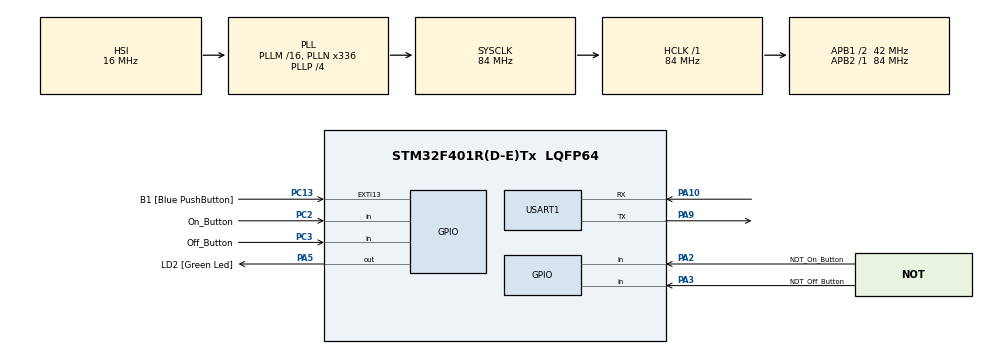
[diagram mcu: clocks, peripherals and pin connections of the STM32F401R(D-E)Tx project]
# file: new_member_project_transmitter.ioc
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Mcu.Family=STM32F4
Mcu.Name=STM32F401R(D-E)Tx
Mcu.Package=LQFP64
NVIC.PriorityGroup=NVIC_PRIORITYGROUP_0
PA10.Mode=Asynchronous
PA10.Signal=USART1_RX
PA13.GPIO_Label=TMS
PA13.Mode=Serial_Wire
PA13.Signal=SYS_JTMS-SWDIO
PA14.GPIO_Label=TCK
PA14.Mode=Serial_Wire
PA14.Signal=SYS_JTCK-SWCLK
PA2.GPIO_Label=NOT_On_Button
PA2.GPIO_PuPd=GPIO_PULLUP
PA2.Signal=GPIO_Input
PA3.GPIO_Label=NOT_Off_Button
PA3.GPIO_PuPd=GPIO_PULLUP
PA3.Signal=GPIO_Input
PA5.GPIO_Label=LD2 [Green Led]
PA5.GPIO_Mode=GPIO_MODE_OUTPUT_PP
PA5.GPIO_PuPd=GPIO_NOPULL
PA5.GPIO_Speed=GPIO_SPEED_FREQ_LOW
PA5.Signal=GPIO_Output
PA9.Mode=Asynchronous
PA9.Signal=USART1_TX
PB3.GPIO_Label=SWO
PB3.Signal=SYS_JTDO-SWO
PC13-ANTI_TAMP.GPIO_Label=B1 [Blue PushButton]
PC13-ANTI_TAMP.GPIO_ModeDefaultEXTI=GPIO_MODE_IT_FALLING
PC13-ANTI_TAMP.GPIO_PuPd=GPIO_NOPULL
PC13-ANTI_TAMP.Signal=GPXTI13
PC14-OSC32_IN.Mode=LSE-External-Oscillator
PC14-OSC32_IN.Signal=RCC_OSC32_IN
PC15-OSC32_OUT.Mode=LSE-External-Oscillator
PC15-OSC32_OUT.Signal=RCC_OSC32_OUT
PC2.GPIO_Label=On_Button
PC2.Signal=GPIO_Input
PC3.GPIO_Label=Off_Button
PC3.Signal=GPIO_Input
PH0\ -\ OSC_IN.Mode=HSE-External-Clock-Source
PH0\ -\ OSC_IN.Signal=RCC_OSC_IN
PH1\ -\ OSC_OUT.Mode=HSE-External-Clock-Source
PH1\ -\ OSC_OUT.Signal=RCC_OSC_OUT
ProjectManager.HeapSize=0x200
ProjectManager.StackSize=0x400
ProjectManager.TargetToolchain=STM32CubeIDE
RCC.48MHZClocksFreq_Value=48000000
RCC.AHBFreq_Value=84000000
RCC.APB1CLKDivider=RCC_HCLK_DIV2
RCC.APB1Freq_Value=42000000
RCC.APB1TimFreq_Value=84000000
RCC.APB2Freq_Value=84000000
RCC.APB2TimFreq_Value=84000000
RCC.CortexFreq_Value=84000000
RCC.HCLKFreq_Value=84000000
RCC.HSE_VALUE=8000000
RCC.HSI_VALUE=16000000
RCC.PLLN=336
RCC.PLLP=RCC_PLLP_DIV4
RCC.PLLQ=7
RCC.SYSCLKFreq_VALUE=84000000
RCC.SYSCLKSource=RCC_SYSCLKSOURCE_PLLCLK
RCC.VCOOutputFreq_Value=336000000
USART1.VirtualMode=VM_ASYNC
board=NUCLEO-F401RE

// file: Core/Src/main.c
/* USER CODE BEGIN Header */
/**
  ******************************************************************************
  * @file           : main.c
  * @brief          : Main program body
  ******************************************************************************
  * @attention
  *
  * Copyright (c) 2024 STMicroelectronics.
  * All rights reserved.
  *
  * This software is licensed under terms that can be found in the LICENSE file
  * in the root directory of this software component.
  * If no LICENSE file comes with this software, it is provided AS-IS.
  *
  ******************************************************************************
  */
/* USER CODE END Header */
#include "main.h"

/* USER CODE BEGIN Includes */
#include "stdbool.h"
/* USER CODE END Includes */

UART_HandleTypeDef huart1;

void SystemClock_Config(void);
static void MX_GPIO_Init(void);
static void MX_USART1_UART_Init(void);

int main(void)
{

  /* MCU Configuration--------------------------------------------------------*/

  /* Reset of all peripherals, Initializes the Flash interface and the Systick. */
  HAL_Init();

  /* Configure the system clock */
  SystemClock_Config();

  /* Initialize all configured peripherals */
  MX_GPIO_Init();
  MX_USART1_UART_Init();
  /* USER CODE BEGIN 2 */

  uint8_t messagebuffer[1]; // single element array of type uint8_t

  void tick_on_button () {
	  //send UART "on" message on button pressdown

	  messagebuffer[0] = 1; //for on
	  HAL_UART_Transmit(&huart1, messagebuffer, 1, 10);
	  HAL_GPIO_TogglePin(LD2_GPIO_Port, LD2_Pin);
	  HAL_Delay(500);

  }

  void tick_off_button () {
	  //send UART "off" message on button pressdown

	  messagebuffer[0] = 0; //for off
	  HAL_UART_Transmit(&huart1, messagebuffer, 1, 10);
	  HAL_GPIO_TogglePin(LD2_GPIO_Port, LD2_Pin);
	  HAL_Delay(500);
  }

  /* USER CODE END 2 */

  /* Infinite loop */
  /* USER CODE BEGIN WHILE */

  //on button
  bool onBtn_prevState = 0; // 0 is for off and 1 is for on
  bool onBtn_currState = 1;

  //off button
  bool offBtn_prevState = 1; // 0 is for off and 1 is for on
  bool offBtn_currState = 1;

  HAL_GPIO_WritePin(LD2_GPIO_Port, LD2_Pin, onBtn_prevState);

  HAL_Delay(1000);

  HAL_GPIO_WritePin(LD2_GPIO_Port, LD2_Pin, onBtn_currState);

  HAL_Delay(1000);

  HAL_GPIO_WritePin(LD2_GPIO_Port, LD2_Pin, onBtn_prevState);

  HAL_Delay(1000);

  HAL_GPIO_WritePin(LD2_GPIO_Port, LD2_Pin, onBtn_currState);

  HAL_Delay(1000);
  while (1)
  {

	  HAL_Delay(50);

	  onBtn_currState = HAL_GPIO_ReadPin(On_Button_GPIO_Port, On_Button_Pin);
	  offBtn_currState = HAL_GPIO_ReadPin(Off_Button_GPIO_Port, Off_Button_Pin);

	  HAL_GPIO_WritePin(LD2_GPIO_Port, LD2_Pin, onBtn_currState);

	  //read current states of the two buttons
	  //HAL_Delay(1000);
	  onBtn_currState = HAL_GPIO_ReadPin(GPIOA, GPIO_PIN_2);
	  offBtn_currState = HAL_GPIO_ReadPin(Off_Button_GPIO_Port, Off_Button_Pin);

	  //prioritizes the on button by putting it first
	  //currState and prevState eliminate button noise
	  HAL_GPIO_WritePin(LD2_GPIO_Port, LD2_Pin, onBtn_currState);

	  if (onBtn_currState == 0 && onBtn_prevState == 1) {
		  //HAL_Delay(50);

		  //if (HAL_GPIO_ReadPin(GPIOA, GPIO_PIN_2) == 0) {
			  tick_on_button();

			  HAL_GPIO_TogglePin(LD2_GPIO_Port, LD2_Pin);
			  HAL_Delay(500);
			  HAL_GPIO_TogglePin(LD2_GPIO_Port, LD2_Pin);
			  HAL_Delay(500);
			  HAL_GPIO_TogglePin(LD2_GPIO_Port, LD2_Pin);
			  HAL_Delay(500);
			  HAL_GPIO_TogglePin(LD2_GPIO_Port, LD2_Pin);

		  //}

	  }

	  if (offBtn_currState == 1 && offBtn_prevState == 0) {
		  //HAL_Delay(50);

		  //if (HAL_GPIO_ReadPin(Off_Button_GPIO_Port, Off_Button_Pin) == 0) {
			  tick_off_button();

			  HAL_GPIO_TogglePin(LD2_GPIO_Port, LD2_Pin);
			  HAL_Delay(500);
			  HAL_GPIO_TogglePin(LD2_GPIO_Port, LD2_Pin);
			  HAL_Delay(500);
			  HAL_GPIO_TogglePin(LD2_GPIO_Port, LD2_Pin);
			  HAL_Delay(500);
		  //}

	  }

	  offBtn_prevState = offBtn_currState;
	  onBtn_prevState = onBtn_currState;

	  //HAL_GPIO_TogglePin(LD2_GPIO_Port, LD2_Pin);
	  //HAL_Delay(500);

    /* USER CODE END WHILE */

  }
}

void SystemClock_Config(void)
{
  RCC_OscInitTypeDef RCC_OscInitStruct = {0};
  RCC_ClkInitTypeDef RCC_ClkInitStruct = {0};

  /** Configure the main internal regulator output voltage
  */
  __HAL_RCC_PWR_CLK_ENABLE();
  __HAL_PWR_VOLTAGESCALING_CONFIG(PWR_REGULATOR_VOLTAGE_SCALE2);

  /** Initializes the RCC Oscillators according to the specified parameters
  * in the RCC_OscInitTypeDef structure.
  */
  RCC_OscInitStruct.OscillatorType = RCC_OSCILLATORTYPE_HSI;
  RCC_OscInitStruct.HSIState = RCC_HSI_ON;
  RCC_OscInitStruct.HSICalibrationValue = RCC_HSICALIBRATION_DEFAULT;
  RCC_OscInitStruct.PLL.PLLState = RCC_PLL_ON;
  RCC_OscInitStruct.PLL.PLLSource = RCC_PLLSOURCE_HSI;
  RCC_OscInitStruct.PLL.PLLM = 16;
  RCC_OscInitStruct.PLL.PLLN = 336;
  RCC_OscInitStruct.PLL.PLLP = RCC_PLLP_DIV4;
  RCC_OscInitStruct.PLL.PLLQ = 7;
  if (HAL_RCC_OscConfig(&RCC_OscInitStruct) != HAL_OK)
  {
    Error_Handler();
  }

  /** Initializes the CPU, AHB and APB buses clocks
  */
  RCC_ClkInitStruct.ClockType = RCC_CLOCKTYPE_HCLK|RCC_CLOCKTYPE_SYSCLK
                              |RCC_CLOCKTYPE_PCLK1|RCC_CLOCKTYPE_PCLK2;
  RCC_ClkInitStruct.SYSCLKSource = RCC_SYSCLKSOURCE_PLLCLK;
  RCC_ClkInitStruct.AHBCLKDivider = RCC_SYSCLK_DIV1;
  RCC_ClkInitStruct.APB1CLKDivider = RCC_HCLK_DIV2;
  RCC_ClkInitStruct.APB2CLKDivider = RCC_HCLK_DIV1;

  if (HAL_RCC_ClockConfig(&RCC_ClkInitStruct, FLASH_LATENCY_2) != HAL_OK)
  {
    Error_Handler();
  }
}

static void MX_USART1_UART_Init(void)
{

  huart1.Instance = USART1;
  huart1.Init.BaudRate = 115200;
  huart1.Init.WordLength = UART_WORDLENGTH_8B;
  huart1.Init.StopBits = UART_STOPBITS_1;
  huart1.Init.Parity = UART_PARITY_NONE;
  huart1.Init.Mode = UART_MODE_TX_RX;
  huart1.Init.HwFlowCtl = UART_HWCONTROL_NONE;
  huart1.Init.OverSampling = UART_OVERSAMPLING_16;
  if (HAL_UART_Init(&huart1) != HAL_OK)
  {
    Error_Handler();
  }

}

static void MX_GPIO_Init(void)
{
  GPIO_InitTypeDef GPIO_InitStruct = {0};

  /* GPIO Ports Clock Enable */
  __HAL_RCC_GPIOC_CLK_ENABLE();
  __HAL_RCC_GPIOH_CLK_ENABLE();
  __HAL_RCC_GPIOA_CLK_ENABLE();
  __HAL_RCC_GPIOB_CLK_ENABLE();

  /*Configure GPIO pin Output Level */
  HAL_GPIO_WritePin(LD2_GPIO_Port, LD2_Pin, GPIO_PIN_RESET);

  /*Configure GPIO pin : B1_Pin */
  GPIO_InitStruct.Pin = B1_Pin;
  GPIO_InitStruct.Mode = GPIO_MODE_IT_FALLING;
  GPIO_InitStruct.Pull = GPIO_NOPULL;
  HAL_GPIO_Init(B1_GPIO_Port, &GPIO_InitStruct);

  /*Configure GPIO pins : On_Button_Pin Off_Button_Pin */
  GPIO_InitStruct.Pin = On_Button_Pin|Off_Button_Pin;
  GPIO_InitStruct.Mode = GPIO_MODE_INPUT;
  GPIO_InitStruct.Pull = GPIO_NOPULL;
  HAL_GPIO_Init(GPIOC, &GPIO_InitStruct);

  /*Configure GPIO pins : NOT_On_Button_Pin NOT_Off_Button_Pin */
  GPIO_InitStruct.Pin = NOT_On_Button_Pin|NOT_Off_Button_Pin;
  GPIO_InitStruct.Mode = GPIO_MODE_INPUT;
  GPIO_InitStruct.Pull = GPIO_PULLUP;
  HAL_GPIO_Init(GPIOA, &GPIO_InitStruct);

  /*Configure GPIO pin : LD2_Pin */
  GPIO_InitStruct.Pin = LD2_Pin;
  GPIO_InitStruct.Mode = GPIO_MODE_OUTPUT_PP;
  GPIO_InitStruct.Pull = GPIO_NOPULL;
  GPIO_InitStruct.Speed = GPIO_SPEED_FREQ_LOW;
  HAL_GPIO_Init(LD2_GPIO_Port, &GPIO_InitStruct);

}

void Error_Handler(void)
{
  __disable_irq();
  while (1)
  {
  }
}
